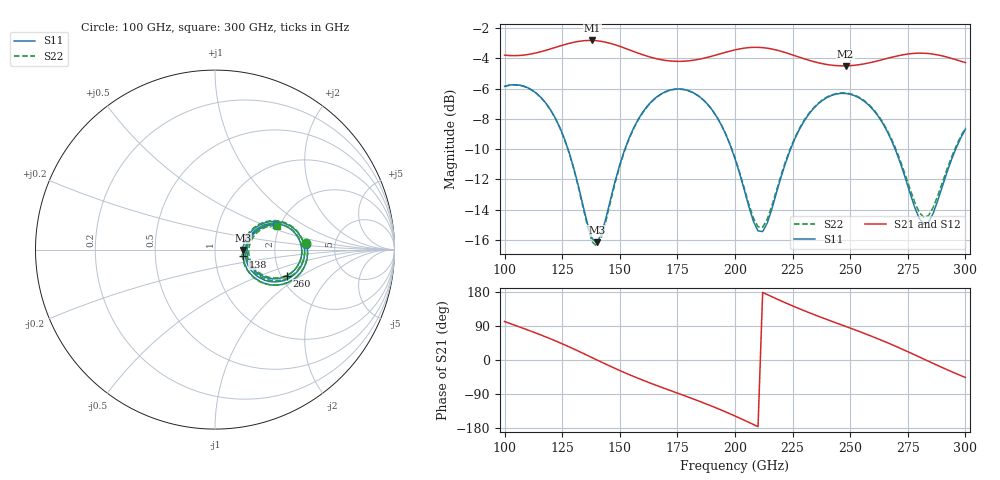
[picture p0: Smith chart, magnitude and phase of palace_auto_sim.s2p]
#  GHZ S DB R 50
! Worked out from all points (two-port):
!   101 points, 100 GHz to 300 GHz, reference 50 ohm
!   highest |S21| = -2.81 dB at 138 GHz (marker M1); lowest = -4.5 dB at 248 GHz (marker M2)
!   |S21| within 3 dB of the highest: start of sweep to end of sweep
!   lowest |S11| = -16.2 dB at 140 GHz (marker M3), VSWR 1.37, Z = 68.4 - j0.331 ohm
!   |S11| at or under -10 dB: 127.5 GHz to 152.2 GHz (24.69 GHz wide, 17.7 % of centre); 198.5 GHz to 224.1 GHz (25.58 GHz wide, 12.1 % of centre); 269.5 GHz to 295.8 GHz (26.31 GHz wide, 9.31 % of centre)
!   |S22| runs from -16.4 to -5.7 dB; largest |S21 - S12| = 1.1e-14
!   S11 on the Smith chart (normalised r, x): 100 GHz: 3.06, +0.28; 138 GHz: 1.36, -0.11; 260 GHz: 2.15, -0.77; 300 GHz: 1.91, +0.61
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100  -5.84 3.8  -3.78 101.5  -3.78 101.5  -5.86 4.0
108  -5.82 -8.7  -3.78 83.8  -3.78 83.8  -5.83 -8.5
118  -6.97 -24.0  -3.46 60.6  -3.46 60.6  -6.99 -24.1
126  -9.33 -34.0  -3.09 40.1  -3.09 40.1  -9.36 -34.2
134  -13.70 -30.9  -2.83 17.7  -2.83 17.7  -13.82 -31.4
138  -15.91 -13.8  -2.81 6.1  -2.81 6.1  -16.12 -14.0
140  -16.17 -0.9  -2.83 0.3  -2.83 0.3  -16.42 -0.6
154  -9.28 26.9  -3.42 -38.3  -3.42 -38.3  -9.33 27.9
168  -6.34 8.8  -4.09 -71.8  -4.09 -71.8  -6.36 9.7
176  -6.02 -3.1  -4.19 -89.6  -4.19 -89.6  -6.03 -2.2
186  -6.71 -17.8  -4.00 -112.3  -4.00 -112.3  -6.71 -16.8
200  -10.63 -32.3  -3.43 -147.8  -3.43 -147.8  -10.57 -30.9
208  -14.78 -18.6  -3.27 -170.2  -3.27 -170.2  -14.56 -17.2
212  -15.45 2.1  -3.28 178.4  -3.28 178.4  -15.16 2.6
224  -10.04 26.2  -3.72 145.4  -3.72 145.4  -9.95 26.0
234  -7.32 16.2  -4.20 120.6  -4.20 120.6  -7.28 16.3
248  -6.32 -3.4  -4.49 88.7  -4.49 88.7  -6.28 -3.0
260  -7.40 -20.0  -4.23 60.9  -4.23 60.9  -7.35 -19.2
268  -9.45 -28.2  -3.92 40.8  -3.92 40.8  -9.35 -27.1
282  -14.96 -4.2  -3.65 2.3  -3.65 2.3  -14.51 -4.0
290  -12.46 22.8  -3.83 -20.0  -3.83 -20.0  -12.21 21.4
300  -8.68 21.9  -4.27 -46.1  -4.27 -46.1  -8.59 20.8
